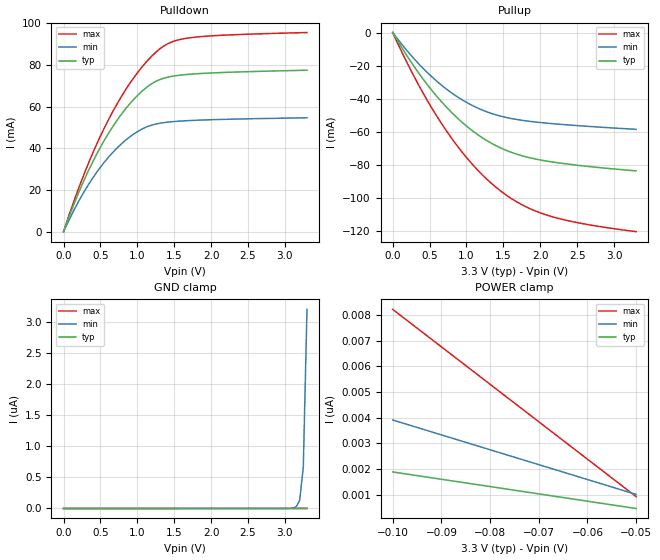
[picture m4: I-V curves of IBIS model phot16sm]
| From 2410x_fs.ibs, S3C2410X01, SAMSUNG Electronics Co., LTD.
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[Model] phot16sm
 Model_type  3-state
 Polarity   Non-Inverting
 Enable   Active-Low
|variable   typ   min   max
 C_comp   2pF   2pF   2pF
|variable   typ   min   max
[Temperature Range]   25.0   0   70
|variable   typ   min   max
[Voltage Range]   3.3V   3.0V   3.6V
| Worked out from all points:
|   slope of the pulldown table from 0 to 0.495 V, typ, clamps not added: 12.3 ohm
|   slope of the pullup table from 0 to 0.495 V, typ, clamps not added: 15 ohm
[Pullup]
|  voltage   I(typ)   I(min)   I(max)
0V        300.8pA    590.2pA    303.9pA
150mV     -11.09mA   -8.625mA   -14.29mA
350mV     -24.42mA   -18.84mA   -31.69mA
500mV     -33.35mA   -25.56mA   -43.53mA
700mV     -43.84mA   -33.28mA   -57.73mA
850mV     -50.68mA   -38.17mA   -67.21mA
1.05V     -58.46mA   -43.52mA   -78.33mA
1.4V      -68.55mA   -49.86mA   -93.74mA
1.75V     -74.62mA   -53.16mA   -104.3mA
2.1V      -77.97mA   -54.94mA   -110.8mA
2.6V      -80.88mA   -56.7mA    -116mA
3.3V      -83.82mA   -58.64mA   -120.6mA
[Pulldown]
|  voltage   I(typ)   I(min)   I(max)
0V        -382.9pA   -534.4pA   -921.6pA
150mV     14.03mA    10.96mA    15.57mA
300mV     26.41mA    20.44mA    29.56mA
450mV     37.25mA    28.54mA    42.04mA
650mV     49.47mA    37.38mA    56.49mA
800mV     57.07mA    42.64mA    65.76mA
1V        65.25mA    47.96mA    76.17mA
1.15V     69.88mA    50.59mA    82.54mA
1.3V      72.9mA     51.98mA    87.57mA
1.5V      74.7mA     52.84mA    91.44mA
1.75V     75.63mA    53.37mA    93.18mA
3.3V      77.46mA    54.65mA    95.54mA
[Ramp]
| variable   typ   min   max
dV/dt_r  1.9235E+00/6.1268E-10   1.7167E+00/8.9422E-10   2.1148E+00/4.3950E-10
dV/dt_f  1.9393E+00/5.0435E-10   1.7494E+00/7.3554E-10   2.1202E+00/3.8352E-10
R_load = 500ohms
[POWER_clamp]
|  voltage   I(typ)   I(min)   I(max)
-100mV    1.88nA     3.904nA    8.211nA
-50mV     455.5pA    1.005nA    917.9pA
[GND_clamp]
|  voltage   I(typ)   I(min)   I(max)
0V        -382.9pA   -534.4pA   -921.6pA
3V        224.3pA    590.2pA    95.41pA
3.1V      242.5pA    3.904nA    117.8pA
3.15V     252pA      21.89nA    128.9pA
3.2V      262.4pA    124.6nA    140.1pA
3.25V     275.7pA    663.7nA    151.2pA
3.3V      300.8pA    3.206uA    162.5pA
